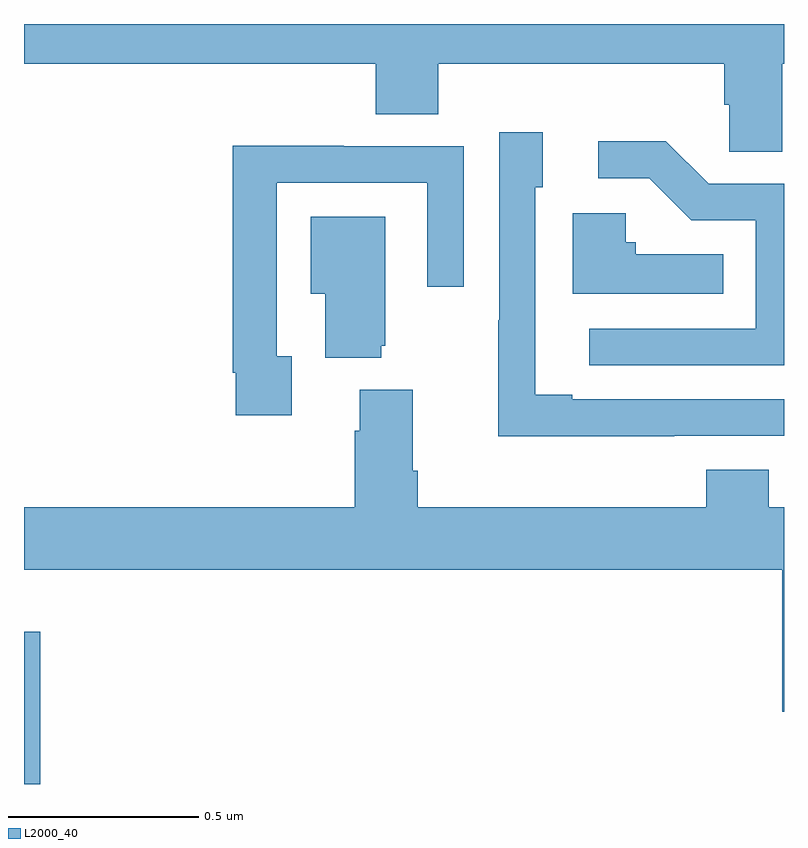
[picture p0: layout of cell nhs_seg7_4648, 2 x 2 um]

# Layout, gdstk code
import gdstk
lib = gdstk.Library(unit=1e-6, precision=1e-09)
def R(c, l, rs):  # rectangles x0, y0, x1, y1
    for r in rs: c.add(gdstk.rectangle(r[:2], r[2:], *l))
def P(c, l, *ps):  # polygons
    for p in ps: c.add(gdstk.Polygon(p, *l))
L2000_40 = (2000, 40)

nhs_seg7_4648 = lib.new_cell('nhs_seg7_4648')
R(nhs_seg7_4648, L2000_40, [(175,1052,175.043,1052.401)])
P(nhs_seg7_4648, L2000_40, [(176.995,1053.896),(177,1053.896),(177,1054),(175,1054),(175,1053.896),(175.925,1053.896),(175.925,1053.763),(176.09,1053.763),(176.09,1053.896),(176.843,1053.896),(176.843,1053.787),(176.856,1053.787),(176.856,1053.664),(176.995,1053.664)],
  [(176.711,1052.916),(177,1052.916),(177,1053.012),(176.443,1053.012),(176.443,1053.025),(176.346,1053.025),(176.346,1053.57),(176.365,1053.57),(176.365,1053.715),(176.25,1053.715),(176.25,1053.221),(176.248,1053.221),(176.248,1052.915),(176.711,1052.915)],
  [(177,1053.579),(176.802,1053.579),(176.689,1053.692),(176.511,1053.692),(176.511,1053.594),(176.645,1053.594),(176.756,1053.483),(176.925,1053.483),(176.925,1053.198),(176.487,1053.198),(176.487,1053.102),(177,1053.102)],
  [(175.705,1053.126),(175.665,1053.126),(175.665,1053.582),(176.061,1053.582),(176.061,1053.309),(176.157,1053.309),(176.157,1053.678),(175.841,1053.678),(175.841,1053.68),(175.549,1053.68),(175.549,1053.082),(175.557,1053.082),(175.557,1052.97),(175.705,1052.97)],
  [(176.84,1053.394),(176.61,1053.394),(176.61,1053.426),(176.583,1053.426),(176.583,1053.502),(176.444,1053.502),(176.444,1053.29),(176.84,1053.29)],
  [(175.94,1053.153),(175.951,1053.153),(175.951,1053.493),(175.754,1053.493),(175.754,1053.29),(175.793,1053.29),(175.793,1053.122),(175.94,1053.122)],
  [(177,1052.728),(176.96,1052.728),(176.96,1052.827),(176.795,1052.827),(176.795,1052.728),(176.036,1052.728),(176.036,1052.824),(176.023,1052.824),(176.023,1053.037),(175.883,1053.037),(175.883,1052.93),(175.871,1052.93),(175.871,1052.728),(175,1052.728),(175,1052.564),(176.996,1052.564),(176.996,1052.19),(177,1052.19)])

lib.write_gds('nhs_seg7_4648.gds')
